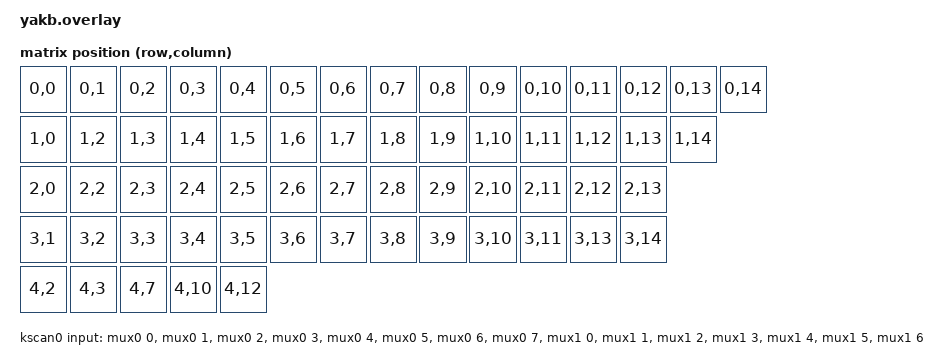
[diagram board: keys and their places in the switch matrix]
/* YAKB A0 - engineering prototype; compiled for the pinned target; hardware calibration required. */
#include <dt-bindings/gpio/gpio.h>
#include <dt-bindings/adc/adc.h>
#include <zephyr/dt-bindings/adc/nrf-saadc.h>
#include <dt-bindings/zmk/matrix_transform.h>

/ {
    chosen { zmk,kscan = &kscan0; zmk,matrix-transform = &transform0; };
    mux0: mux0 {
        compatible = "zmk,gpio-mux";
        gpio-controller;
        #gpio-cells = <2>;
        select-gpios = <&pro_micro 5 GPIO_ACTIVE_HIGH>, <&pro_micro 6 GPIO_ACTIVE_HIGH>, <&pro_micro 7 GPIO_ACTIVE_HIGH>;
        en-gpios = <&pro_micro 8 GPIO_ACTIVE_LOW>;
    };
    mux1: mux1 {
        compatible = "zmk,gpio-mux";
        gpio-controller;
        #gpio-cells = <2>;
        select-gpios = <&pro_micro 5 GPIO_ACTIVE_HIGH>, <&pro_micro 6 GPIO_ACTIVE_HIGH>, <&pro_micro 7 GPIO_ACTIVE_HIGH>;
        en-gpios = <&pro_micro 9 GPIO_ACTIVE_LOW>;
    };
    transform0: transform0 {
        compatible = "zmk,matrix-transform";
        rows = <5>;
        columns = <15>;
        map = <
            RC(0,0) RC(0,1) RC(0,2) RC(0,3) RC(0,4) RC(0,5) RC(0,6) RC(0,7) RC(0,8) RC(0,9) RC(0,10) RC(0,11) RC(0,12) RC(0,13) RC(0,14)
            RC(1,0) RC(1,2) RC(1,3) RC(1,4) RC(1,5) RC(1,6) RC(1,7) RC(1,8) RC(1,9) RC(1,10) RC(1,11) RC(1,12) RC(1,13) RC(1,14)
            RC(2,0) RC(2,2) RC(2,3) RC(2,4) RC(2,5) RC(2,6) RC(2,7) RC(2,8) RC(2,9) RC(2,10) RC(2,11) RC(2,12) RC(2,13)
            RC(3,1) RC(3,2) RC(3,3) RC(3,4) RC(3,5) RC(3,6) RC(3,7) RC(3,8) RC(3,9) RC(3,10) RC(3,11) RC(3,13) RC(3,14)
            RC(4,2) RC(4,3) RC(4,7) RC(4,10) RC(4,12)
        >;
    };
    kscan0: kscan0 {
        compatible = "zmk,kscan-ec-matrix";
        strobe-gpios = <&pro_micro 0 GPIO_ACTIVE_HIGH>, <&pro_micro 1 GPIO_ACTIVE_HIGH>,
                       <&pro_micro 2 GPIO_ACTIVE_HIGH>, <&pro_micro 3 GPIO_ACTIVE_HIGH>, <&pro_micro 4 GPIO_ACTIVE_HIGH>;
        input-gpios = <&mux0 0 GPIO_ACTIVE_HIGH>, <&mux0 1 GPIO_ACTIVE_HIGH>, <&mux0 2 GPIO_ACTIVE_HIGH>, <&mux0 3 GPIO_ACTIVE_HIGH>, <&mux0 4 GPIO_ACTIVE_HIGH>, <&mux0 5 GPIO_ACTIVE_HIGH>, <&mux0 6 GPIO_ACTIVE_HIGH>, <&mux0 7 GPIO_ACTIVE_HIGH>, <&mux1 0 GPIO_ACTIVE_HIGH>, <&mux1 1 GPIO_ACTIVE_HIGH>, <&mux1 2 GPIO_ACTIVE_HIGH>, <&mux1 3 GPIO_ACTIVE_HIGH>, <&mux1 4 GPIO_ACTIVE_HIGH>, <&mux1 5 GPIO_ACTIVE_HIGH>, <&mux1 6 GPIO_ACTIVE_HIGH>;
        drain-gpios = <&pro_micro 10 GPIO_ACTIVE_HIGH>;
        power-gpios = <&pro_micro 15 GPIO_ACTIVE_LOW>;
        io-channels = <&adc 1>; /* logical channel 0 is reserved by the ZMK battery driver */
        strobe-input-masks = <0x0 0x2 0x4002 0x1001 0x6b73>;
        matrix-warm-up-us = <200>;
        matrix-relax-us = <10>;
        adc-read-settle-us = <5>;
        trigger-percentage = <50>;
        active-polling-interval-ms = <4>;
        idle-polling-interval-ms = <8>;
        sleep-polling-interval-ms = <12>;
        idle-after-secs = <5>;
        sleep-after-secs = <300>;
        dynamic-polling-interval;
    };
};

&adc {
    status = "okay";
    #address-cells = <1>;
    #size-cells = <0>;
    channel@1 {
        reg = <1>;
        zephyr,gain = "ADC_GAIN_1_6";
        zephyr,reference = "ADC_REF_INTERNAL";
        zephyr,acquisition-time = <ADC_ACQ_TIME(ADC_ACQ_TIME_MICROSECONDS, 10)>;
        zephyr,resolution = <12>;
        zephyr,input-positive = <NRF_SAADC_AIN0>; /* D19=P0.02. D18 is NOT an ADC pin on nice!nano! */
    };
};
&i2c0 { status = "disabled"; };
&spi1 { status = "disabled"; };
&uart0 { status = "disabled"; };
